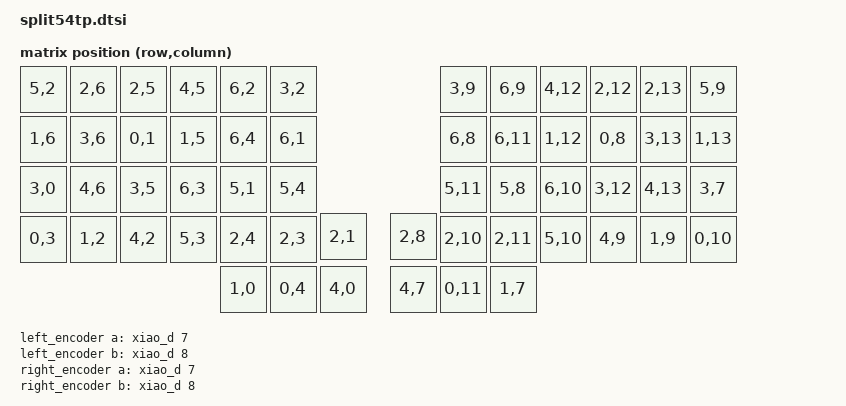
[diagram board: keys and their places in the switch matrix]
/*
 * split54tp - 共通デバイスツリー
 *
 * 物理配列: メイン 6列×4行 ＋ 親指3キー ＝ 27キー/半身 (計54キー)
 * エンコーダ: スクロールホイール型(横軸/マウスホイール方式)
 *           内側の第7列ストリップに CPU / スティック / エンコーダを配置
 *
 * チャーリープレックス 7線 (L0-L6 = XIAO D0-D6)
 * 電気的マッピング RC(drive, sense):
 *   rev.6 はゴースト対策で 1 キーずつ再配置した (規則性なし)。一覧は default_transform の map を参照。
 *   (rev.5 の「通常列 drive=L4/L5/L6 / 反転列 drive=行」は廃止。旧記述は .bak-rev6map-20260926)
 *   エンコーダプッシュ: RC(2,1)
 *   → 28ペア/半身。右半身は col-offset 7
 *
 * ZMK公式の charlieplex ドライバ仕様との整合を 2026-08-24 に検証済み:
 *   「row は常に駆動ピン、column は常に受信ピン」「row==column は除外」
 *   https://zmk.dev/docs/config/kscan
 */

#include <dt-bindings/zmk/matrix_transform.h>
#include <zephyr/dt-bindings/gpio/gpio.h>
#include <physical_layouts.dtsi>

/ {
    chosen {
        zmk,kscan = &kscan0;
        /*
         * ★ ZMK Studio 対応のため zmk,matrix-transform は chosen に置かない。
         *   公式: "The keyboard should also not have a chosen zmk,matrix-transform."
         *   代わりに下の physical layout が transform を参照する。
         *   https://zmk.dev/docs/features/studio
         */
        /*
         * ⚠ zephyr,display はここに書けない。
         *   Zephyr は **デバイスツリーを Kconfig より先に処理する** ため、
         *   .dtsi / .overlay の前処理時点で CONFIG_* はまだ存在しない。
         *   #ifdef CONFIG_ZMK_DISPLAY は常に偽になる (2026-09-07 に実機ビルドで判明)。
         *   → OLED 関連は split54tp_left.overlay に無条件で書いている。
         */
    };

    /*
     * 物理レイアウト (ZMK Studio がキーの配置を描画するのに必要)
     *   単位は centi-keyunit (1キー = 100)。<&key_physical_attrs 幅 高 X Y 回転 rx ry>
     *   X/Y はキーの左上。オーソリニア19.05mm等ピッチなので、
     *   PCBのスイッチ実座標から機械的に生成した (2026-08-29)。
     *   左半身 X=0〜600 / 右半身 X=740〜1340 (左右の間隔 1.40キーユニット = 26.67mm)
     *   並び順はキーマップの bindings と完全に一致している。
     */
    default_layout: physical_layout_0 {
        compatible = "zmk,physical-layout";
        display-name = "split54tp";
        transform = <&default_transform>;
            /* num   */
          keys = <&key_physical_attrs 100 100    0    0 0 0 0>
                , <&key_physical_attrs 100 100  100    0 0 0 0>
                , <&key_physical_attrs 100 100  200    0 0 0 0>
                , <&key_physical_attrs 100 100  300    0 0 0 0>
                , <&key_physical_attrs 100 100  400    0 0 0 0>
                , <&key_physical_attrs 100 100  500    0 0 0 0>
                , <&key_physical_attrs 100 100  840    0 0 0 0>
                , <&key_physical_attrs 100 100  940    0 0 0 0>
                , <&key_physical_attrs 100 100 1040    0 0 0 0>
                , <&key_physical_attrs 100 100 1140    0 0 0 0>
                , <&key_physical_attrs 100 100 1240    0 0 0 0>
                , <&key_physical_attrs 100 100 1340    0 0 0 0>
            /* upper */
                , <&key_physical_attrs 100 100    0  100 0 0 0>
                , <&key_physical_attrs 100 100  100  100 0 0 0>
                , <&key_physical_attrs 100 100  200  100 0 0 0>
                , <&key_physical_attrs 100 100  300  100 0 0 0>
                , <&key_physical_attrs 100 100  400  100 0 0 0>
                , <&key_physical_attrs 100 100  500  100 0 0 0>
                , <&key_physical_attrs 100 100  840  100 0 0 0>
                , <&key_physical_attrs 100 100  940  100 0 0 0>
                , <&key_physical_attrs 100 100 1040  100 0 0 0>
                , <&key_physical_attrs 100 100 1140  100 0 0 0>
                , <&key_physical_attrs 100 100 1240  100 0 0 0>
                , <&key_physical_attrs 100 100 1340  100 0 0 0>
            /* home  */
                , <&key_physical_attrs 100 100    0  200 0 0 0>
                , <&key_physical_attrs 100 100  100  200 0 0 0>
                , <&key_physical_attrs 100 100  200  200 0 0 0>
                , <&key_physical_attrs 100 100  300  200 0 0 0>
                , <&key_physical_attrs 100 100  400  200 0 0 0>
                , <&key_physical_attrs 100 100  500  200 0 0 0>
                , <&key_physical_attrs 100 100  840  200 0 0 0>
                , <&key_physical_attrs 100 100  940  200 0 0 0>
                , <&key_physical_attrs 100 100 1040  200 0 0 0>
                , <&key_physical_attrs 100 100 1140  200 0 0 0>
                , <&key_physical_attrs 100 100 1240  200 0 0 0>
                , <&key_physical_attrs 100 100 1340  200 0 0 0>
            /* lower */
                , <&key_physical_attrs 100 100    0  300 0 0 0>
                , <&key_physical_attrs 100 100  100  300 0 0 0>
                , <&key_physical_attrs 100 100  200  300 0 0 0>
                , <&key_physical_attrs 100 100  300  300 0 0 0>
                , <&key_physical_attrs 100 100  400  300 0 0 0>
                , <&key_physical_attrs 100 100  500  300 0 0 0>
                , <&key_physical_attrs 100 100  840  300 0 0 0>
                , <&key_physical_attrs 100 100  940  300 0 0 0>
                , <&key_physical_attrs 100 100 1040  300 0 0 0>
                , <&key_physical_attrs 100 100 1140  300 0 0 0>
                , <&key_physical_attrs 100 100 1240  300 0 0 0>
                , <&key_physical_attrs 100 100 1340  300 0 0 0>
            /* thumb */
                , <&key_physical_attrs 100 100  400  400 0 0 0>
                , <&key_physical_attrs 100 100  500  400 0 0 0>
                , <&key_physical_attrs 100 100  600  400 0 0 0>
                , <&key_physical_attrs 100 100  740  400 0 0 0>
                , <&key_physical_attrs 100 100  840  400 0 0 0>
                , <&key_physical_attrs 100 100  940  400 0 0 0>
            /* エンコーダのプッシュ 左|右 */
                , <&key_physical_attrs 100 100  600  295 0 0 0>
                , <&key_physical_attrs 100 100  740  295 0 0 0>
          ;
    };

    kscan0: kscan {
        compatible = "zmk,kscan-gpio-charlieplex";
        wakeup-source;

        gpios
            = <&xiao_d 0 GPIO_ACTIVE_HIGH>   /* L0 */
            , <&xiao_d 1 GPIO_ACTIVE_HIGH>   /* L1 */
            , <&xiao_d 2 GPIO_ACTIVE_HIGH>   /* L2 */
            , <&xiao_d 3 GPIO_ACTIVE_HIGH>   /* L3 */
            , <&xiao_d 4 GPIO_ACTIVE_HIGH>   /* L4 */
            , <&xiao_d 5 GPIO_ACTIVE_HIGH>   /* L5 */
            , <&xiao_d 6 GPIO_ACTIVE_HIGH>   /* L6 */
            ;

        /*
         * interrupt-gpios を設定すると割込みスキャンになり消費電力が大きく下がる。
         * ただし容量が n(n-1)=42 から (n-1)(n-2)=30 へ減る (使用28なので余裕2)。
         * 割込みピンには全sense線をダイオードORで接続する必要があり、
         * かつ空きピンが無いため現状は未使用 (ポーリング動作)。
         */
    };

    /* 7行(drive) x 14列(sense: 0-6=左, 7-13=右) / 56キーポジション */
    default_transform: keymap_transform_0 {
        compatible = "zmk,matrix-transform";
        rows = <7>;
        columns = <14>;
        /*
         * ★ 2026-09-26 rev.6 基板の配線割当に差し替え (ゴースト対策で再配置した割当)。
         *   出典: keyboard-project/docs/rev6-課題一覧.md「default_transform の map」、
         *   および ergogen/output_rev6_fpc の .kicad_pcb から S1〜S27 と D の
         *   ネットを抽出して左右 27 キーすべて一致を確認済み。
         *   rev.5 の旧 map は split54tp.dtsi.bak-rev6map-20260926 に残してある。
         *   右半身は左の鏡像 (同じローカル RC、sense に +7)。
         */
        map = <
/* num   : ESC 1 2 3 4 5   |   6 7 8 9 0 DEL */
RC(5,2)   RC(2,6)   RC(2,5)   RC(4,5)   RC(6,2)   RC(3,2)      RC(3,9)   RC(6,9)   RC(4,12)  RC(2,12)  RC(2,13)  RC(5,9)
/* upper : TAB Q W E R T   |   Y U I O P BSPC */
RC(1,6)   RC(3,6)   RC(0,1)   RC(1,5)   RC(6,4)   RC(6,1)      RC(6,8)   RC(6,11)  RC(1,12)  RC(0,8)   RC(3,13)  RC(1,13)
/* home  : CTRL A S D F G  |   H J K L ; ENTER */
RC(3,0)   RC(4,6)   RC(3,5)   RC(6,3)   RC(5,1)   RC(5,4)      RC(5,11)  RC(5,8)   RC(6,10)  RC(3,12)  RC(4,13)  RC(3,7)
/* lower : SHIFT Z X C V B |   N M , . / SHIFT */
RC(0,3)   RC(1,2)   RC(4,2)   RC(5,3)   RC(2,4)   RC(2,3)      RC(2,10)  RC(2,11)  RC(5,10)  RC(4,9)   RC(1,9)   RC(0,10)
/* thumb : 左3キー(out/mid/in) | 右3キー(in/mid/out)   ※ out=index / mid=inner / in=strip */
                                                      RC(1,0)   RC(0,4)   RC(4,0)      RC(4,7)   RC(0,11)  RC(1,7)
/* ホイール プッシュ 左 | 右 */
RC(2,1)                                             RC(2,8)
        >;
    };

    /*
     * スクロールホイール型エンコーダ (横軸 = マウスホイール方式)
     * ZMKから見ればEC11と同じ2相インクリメンタルなので alps,ec11 ドライバで扱える。
     * 各overlayで status = "okay" にする。
     *
     * ⚠ steps / triggers-per-rotation は THQWGD001C の実分解能が未確認。
     *   実機で回してみて、1ノッチあたりのスクロール量が合うよう調整すること。
     * ★ 2026-09-26 rev.6 (CKW12): steps 30 では 1ノッチで2回トリガした (ログで確認)。
     *   steps を 60 にして 1ノッチ=1トリガにする (triggers-per-rotation は 15 のまま)。
     *   CKW12 の公式資料にパルス数の記載はない。多すぎ/少なすぎなら 30/120 を試す。
     *
     * ⚠ 右基板は ENC1 を物理的に180度回転させて実装している (PWR1/RST1との干渉回避)。
     *   そのため右だけ回転方向が逆になる可能性がある。
     *   逆だった場合は split54tp_right.overlay で a-gpios/b-gpios を入れ替える。
     */
    left_encoder: encoder_left {
        compatible = "alps,ec11";
        a-gpios = <&xiao_d 7 (GPIO_ACTIVE_HIGH | GPIO_PULL_UP)>;
        b-gpios = <&xiao_d 8 (GPIO_ACTIVE_HIGH | GPIO_PULL_UP)>;
        steps = <60>;
        status = "disabled";
    };

    right_encoder: encoder_right {
        compatible = "alps,ec11";
        a-gpios = <&xiao_d 7 (GPIO_ACTIVE_HIGH | GPIO_PULL_UP)>;
        b-gpios = <&xiao_d 8 (GPIO_ACTIVE_HIGH | GPIO_PULL_UP)>;
        steps = <60>;
        status = "disabled";
    };

    sensors: sensors {
        compatible = "zmk,keymap-sensors";
        sensors = <&left_encoder &right_encoder>;
        triggers-per-rotation = <15>;
    };

    /*
     * ---- ポインティングスティック (低消費電力I2C版 / LPPS) ---- 2026-09-26 有効化
     *   モジュール: https://github.com/sekigon-gonnoc/low-power-pointing-stick
     *   ドライバ  : https://github.com/sekigon-gonnoc/zmk-driver-lpps
     *   ZMK 公式の split パターン: https://zmk.dev/docs/hardware-integration/pointing
     *
     * 配線 (rev.6):
     *   J1 (FPC 6P) … 1 VCC / 2 MOTION / 3 NC / 4 SCL / 5 SDA / 6 GND
     *   SCL/SDA = D10 / D9 (I2C 共用バス, 4.7kΩ R1/R2)。OLED(0x3C) と LPPS(0x57) が同居
     *   MOTION  = NFC1 (P0.09) … XIAO 裏面パッドからリード線 (中継パッド 18)
     *
     * 左 (ペリフェラル): lpps → lpps_split 経由でセントラルへ転送
     * 右 (セントラル)  : lpps_split_listener で左の分を受け、lpps_listener で自分の分を受ける
     */
    split_inputs {
        #address-cells = <1>;
        #size-cells = <0>;

        lpps_split: lpps_split@0 {
            compatible = "zmk,input-split";
            reg = <0>;
        };
    };

    /* 左スティック用 (右で okay にする) */
    lpps_split_listener: lpps_split_listener {
        compatible = "zmk,input-listener";
        status = "disabled";
        device = <&lpps_split>;
    };
};

/*
 * ---- NFC パッドを GPIO として使う ----
 * P0.09 / P0.10 は既定で NFC アンテナ端子。GPIO として使うには UICR の設定が要る。
 *
 * ⚠ Zephyr 4.1 移行で Kconfig の CONFIG_NFCT_PINS_AS_GPIOS は削除された。
 *   現在は下記の devicetree 設定を使う。
 *   https://zmk.dev/blog/2025/12/09/zephyr-4-1
 *
 * ⚠ この設定は P0.09 を LPPS の MOTION に使うために必要。
 *
 * ⚠ P0.09 / P0.10 は nRF52840 データシート上
 *   「Standard drive, low frequency I/O only」= **10kHz まで** に分類される。
 *   割込み入力(MOTION)のような実質 DC の用途は問題ないが、
 *   **I2C(100〜400kHz) や WS2812 をここに割り当ててはいけない。**
 *   https://infocenter.nordicsemi.com/topic/ps_nrf52840/pin.html
 */
&uicr {
    nfct-pins-as-gpios;
};

/*
 * ---- OLED はここには書かない ----
 * デバイスツリーは Kconfig より先に処理されるため、この共通 dtsi で
 * #ifdef CONFIG_ZMK_DISPLAY による出し分けはできない。
 * OLED を載せる側の overlay (現在は split54tp_left.overlay) に無条件で書くこと。
 */

/*
 * ---- I2C バス (D9 = SDA / D10 = SCL) ---- 2026-09-26 左 overlay から移設
 *   rev.6 は左右とも同じバスに OLED(0x3C) と LPPS(0x57) が載るので共通化した。
 *   OLED ノードは左 overlay にだけ置く（右は OLED 未有効）。
 *
 * ⚠ 基板側の i2c1_default は D4/D5 (= キーマトリクス L4/L5)。
 *   同名上書きをやめて別名ノードを &i2c1 から明示的に指す (2026-09-08 の教訓)。
 * ⚠ xiao_ble の spi2 は D8/D9/D10 を掴んでいるので無効化必須 (2026-09-08 の根本原因)。
 */
&pinctrl {
    i2c1_oled_default: i2c1_oled_default {
        group1 {
            psels = <NRF_PSEL(TWIM_SDA, 1, 14)>, <NRF_PSEL(TWIM_SCL, 1, 15)>;
        };
    };

    i2c1_oled_sleep: i2c1_oled_sleep {
        group1 {
            psels = <NRF_PSEL(TWIM_SDA, 1, 14)>, <NRF_PSEL(TWIM_SCL, 1, 15)>;
            low-power-enable;
        };
    };
};

&spi2 {
    status = "disabled";
};

&i2c1 {
    compatible = "nordic,nrf-twim";
    status = "okay";
    /*
     * ★ 2026-09-26 400kHz (FAST) に変更。ドライバ README の例と同じ値。
     *   100kHz では右 LPPS で「Motion detected → 約500ms 後に I2C read failed: -5」
     *   (転送タイムアウト) が多発した。MOTION がローの短い間に読み切るため速くする。
     *   OLED の 100kHz 化はブレッドボード配線時の暫定策だった (PCB 本組みでは不要の見込み)。
     *   戻すときは I2C_BITRATE_STANDARD。
     */
    /*
     * ★ 2026-09-26 (2回目) 100kHz に戻して比較中。
     *   400kHz では生データが常に 00 00 0x (X/Y 常に0、Z も 3〜10 しか動かない)。
     *   100kHz では失敗は多いが X/Y に値が出ていた (DF E0 00 / AC AC 2A)。
     */
    clock-frequency = <I2C_BITRATE_STANDARD>;
    pinctrl-0 = <&i2c1_oled_default>;
    pinctrl-1 = <&i2c1_oled_sleep>;
    pinctrl-names = "default", "sleep";

    /*
     * LPPS (sekigon-gonnoc)。irq-gpios はドライバ README どおり GPIO_PULL_UP のみ。
     * ドライバは生の値で「0 = MOTION アクティブ」と判定するので ACTIVE_LOW を付けない。
     */
    lpps: pointing_device@57 {
        compatible = "lpps";
        reg = <0x57>;
        irq-gpios = <&gpio0 9 GPIO_PULL_UP>;
    };
};
